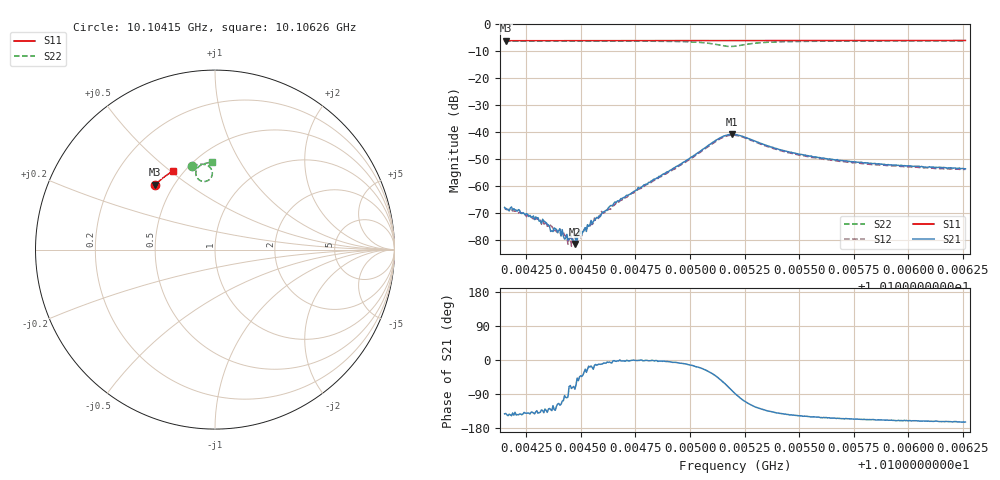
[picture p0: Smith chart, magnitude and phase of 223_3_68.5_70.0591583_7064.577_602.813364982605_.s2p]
#  HZ  S  RI  R  50.00
! Rohde & Schwarz Vector Network Analyzer
! Rohde-Schwarz,ZNB20-2Port,1311601062101988,3.16
! Created: UTC 3/20/2024, 5:13:44 PM
! freq[Hz]  re:S11  im:S11  re:S21  im:S21  re:S12  im:S12  re:S22  im:S22
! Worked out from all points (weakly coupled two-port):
!   401 points, 10.10415 GHz to 10.10626 GHz, reference 50 ohm
!   highest |S21| = -40.93 dB at 10.10519 GHz (marker M1); lowest = -81.6 dB at 10.10447 GHz (marker M2)
!   lowest |S11| = -6.2 dB at 10.10416 GHz (marker M3), VSWR 2.93, Z = 19.9 + j19 ohm
!   |S11| at or under -10 dB: nowhere
!   |S22| runs from -8.3 to -6.2 dB; largest |S21 - S12| = 0.00097
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1.0104151e10  -0.3326 0.3614  -0.000311 -0.000243  -0.000291 -0.000247  -0.1277 0.4663
1.0104156e10  -0.3323 0.3615  -0.000295 -0.000238  -0.000284 -0.000229  -0.1274 0.4664
1.0104188e10  -0.331 0.363  -0.000273 -0.000229  -0.000259 -0.000218  -0.1251 0.4669
1.0104293e10  -0.3265 0.3676  -0.000193 -0.000179  -0.000153 -0.000181  -0.1175 0.4692
1.0104335e10  -0.3246 0.3694  -0.000135 -0.000164  -0.000133 -0.000145  -0.1143 0.4699
1.0104362e10  -0.3235 0.3704  -9.31e-05 -0.000107  -9.79e-05 -0.000153  -0.1124 0.4705
1.0104393e10  -0.3219 0.3719  -6.05e-05 -0.000122  -4.06e-05 -0.000129  -0.1099 0.471
1.010443e10  -0.3203 0.3734  -1.56e-05 -0.000104  3.92e-06 -0.000117  -0.1071 0.4716
1.0104446e10  -0.3197 0.3742  3.59e-05 -9.99e-05  4.41e-05 -9.24e-05  -0.1058 0.472
1.0104473e10  -0.3185 0.3751  1.84e-05 -8.09e-05  3.45e-05 -9.82e-05  -0.1038 0.4725
1.0104488e10  -0.3177 0.3756  8.92e-05 -0.000125  8.01e-05 -0.000101  -0.1024 0.4727
1.0104504e10  -0.317 0.3762  9.1e-05 -8.63e-05  0.0001 -6.61e-05  -0.101 0.4731
1.0104604e10  -0.3126 0.3805  0.000323 -4.45e-05  0.000309 -2.28e-05  -0.0924 0.4745
1.0104662e10  -0.3099 0.3829  0.000487 -3.04e-05  0.000475 9.35e-06  -0.0869 0.4753
1.0104858e10  -0.3007 0.3905  0.00149 -7.77e-05  0.00142 7.35e-05  -0.0638 0.4754
1.0105127e10  -0.2877 0.4005  0.00507 -0.00526  0.00532 -0.00454  -0.0165 0.4129
1.010519e10  -0.2848 0.4024  0.00162 -0.00883  0.00239 -0.00832  -0.0591 0.3793
1.0105206e10  -0.2843 0.4031  0.000226 -0.00893  0.00111 -0.00857  -0.074 0.3811
1.0105396e10  -0.2754 0.4104  -0.00373 -0.00318  -0.0033 -0.00339  -0.0953 0.457
1.0105559e10  -0.2674 0.4163  -0.00301 -0.00174  -0.00274 -0.00192  -0.0742 0.4732
1.0105913e10  -0.2495 0.4283  -0.00226 -0.000871  -0.00212 -0.00106  -0.0416 0.4833
1.0106261e10  -0.2315 0.4392  -0.00198 -0.000579  -0.00185 -0.000738  -0.0154 0.487
